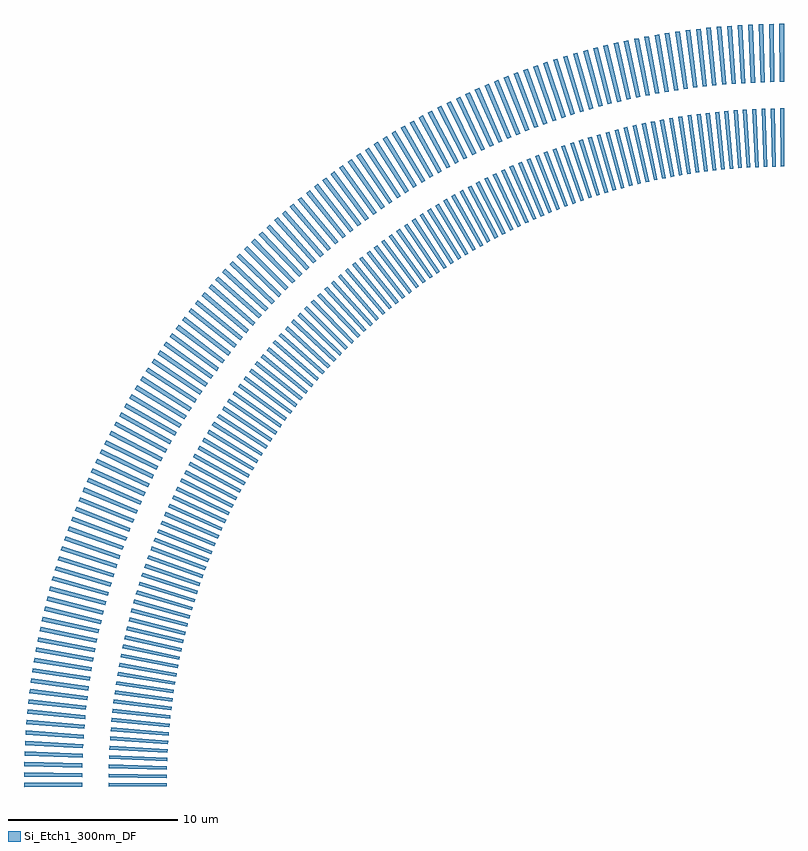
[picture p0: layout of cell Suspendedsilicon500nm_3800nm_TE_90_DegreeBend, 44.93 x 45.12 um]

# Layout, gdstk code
import gdstk
lib = gdstk.Library(unit=1e-6, precision=1e-09)
def P(c, l, *ps):  # polygons
    for p in ps: c.add(gdstk.Polygon(p, *l))
Si_Etch1_300nm_DF = (404, 0)

suspendedsilicon500nm_38 = lib.new_cell('Suspendedsilicon500nm_3800nm_TE_90_DegreeBend')
P(suspendedsilicon500nm_38, Si_Etch1_300nm_DF, [(8.902,20.76),(5.921,22.46),(6.055,22.692),(9.023,20.97)],
  [(14.847,20.837),(12.018,22.775),(12.148,22.964),(14.963,21.004)],
  [(9.189,21.255),(6.233,22.995),(6.369,23.225),(9.312,21.463)],
  [(15.135,21.249),(12.332,23.227),(12.465,23.414),(15.252,21.415)],
  [(9.482,21.745),(6.55,23.526),(6.689,23.753),(9.608,21.951)],
  [(15.427,21.657),(12.652,23.673),(12.787,23.858),(15.547,21.821)],
  [(9.782,22.231),(6.876,24.051),(7.018,24.277),(9.91,22.435)],
  [(15.726,22.061),(12.978,24.115),(13.117,24.298),(15.848,22.223)],
  [(16.03,22.461),(13.311,24.552),(13.452,24.733),(16.155,22.621)],
  [(22.375,28.869),(20.252,31.562),(20.434,31.704),(22.537,28.996)],
  [(22.773,29.177),(20.687,31.9),(20.869,32.039),(22.935,29.301)],
  [(23.174,29.48),(21.126,32.231),(21.311,32.367),(23.338,29.601)],
  [(23.579,29.776),(21.569,32.557),(21.755,32.69),(23.745,29.895)],
  [(23.989,30.068),(22.017,32.874),(22.205,33.005),(24.156,30.185)],
  [(22.536,35.113),(20.682,37.999),(20.907,38.142),(22.74,35.243)],
  [(23.02,35.418),(21.205,38.33),(21.432,38.47),(23.225,35.545)],
  [(23.506,35.717),(21.732,38.652),(21.961,38.79),(23.713,35.841)],
  [(23.998,36.009),(22.263,38.968),(22.495,39.102),(24.207,36.13)],
  [(26.093,31.438),(24.318,34.373),(24.516,34.492),(26.268,31.543)],
  [(26.525,31.695),(24.791,34.654),(24.99,34.769),(26.702,31.797)],
  [(26.96,31.946),(25.266,34.928),(25.467,35.041),(27.138,32.046)],
  [(27.399,32.19),(25.748,35.196),(25.949,35.305),(27.578,32.287)],
  [(27.841,32.428),(26.23,35.456),(26.434,35.564),(28.022,32.524)],
  [(28.287,32.661),(26.718,35.711),(26.923,35.815),(28.468,32.753)],
  [(28.735,32.886),(27.209,35.958),(27.415,36.06),(28.919,32.977)],
  [(29.187,33.107),(27.703,36.199),(27.91,36.298),(29.371,33.195)],
  [(29.641,33.321),(28.2,36.433),(28.409,36.528),(29.827,33.407)],
  [(30.099,33.528),(28.7,36.66),(28.91,36.753),(30.286,33.611)],
  [(30.559,33.73),(29.204,36.881),(29.415,36.97),(30.747,33.81)],
  [(31.022,33.924),(29.709,37.094),(29.923,37.181),(31.211,34.002)],
  [(31.488,34.114),(30.22,37.3),(30.433,37.383),(31.677,34.188)],
  [(31.957,34.295),(30.732,37.499),(30.946,37.58),(32.147,34.367)],
  [(32.427,34.471),(31.247,37.691),(31.463,37.769),(32.618,34.54)],
  [(32.9,34.639),(31.764,37.877),(31.981,37.952),(33.093,34.706)],
  [(33.375,34.802),(32.283,38.054),(32.502,38.127),(33.569,34.866)],
  [(24.402,30.354),(22.469,33.187),(22.658,33.315),(24.57,30.467)],
  [(33.853,34.958),(32.806,38.225),(33.025,38.294),(34.048,35.02)],
  [(34.332,35.108),(33.33,38.388),(33.55,38.454),(34.527,35.167)],
  [(24.819,30.633),(22.924,33.493),(23.117,33.62),(24.99,30.745)],
  [(34.814,35.252),(33.858,38.545),(34.079,38.607),(35.009,35.307)],
  [(35.298,35.387),(34.386,38.694),(34.608,38.754),(35.494,35.441)],
  [(25.239,30.907),(23.385,33.793),(23.579,33.917),(25.411,31.017)],
  [(35.782,35.517),(34.918,38.836),(35.14,38.893),(35.98,35.567)],
  [(36.27,35.639),(35.45,38.97),(35.673,39.025),(36.468,35.688)],
  [(25.665,31.176),(23.851,34.087),(24.045,34.207),(25.838,31.283)],
  [(36.758,35.756),(35.985,39.098),(36.209,39.148),(36.957,35.801)],
  [(37.249,35.865),(36.52,39.217),(36.746,39.266),(37.449,35.908)],
  [(37.74,35.968),(37.059,39.33),(37.285,39.375),(37.941,36.007)],
  [(24.492,36.293),(22.799,39.276),(23.031,39.407),(24.702,36.412)],
  [(38.234,36.063),(37.597,39.435),(37.824,39.477),(38.435,36.101)],
  [(38.727,36.154),(38.139,39.532),(38.365,39.57),(38.928,36.188)],
  [(39.224,36.236),(38.682,39.623),(38.907,39.658),(39.425,36.268)],
  [(24.991,36.572),(23.34,39.578),(23.574,39.705),(25.203,36.687)],
  [(39.72,36.311),(39.225,39.705),(39.452,39.737),(39.922,36.34)],
  [(40.218,36.38),(39.77,39.78),(39.996,39.809),(40.42,36.406)],
  [(40.717,36.442),(40.314,39.848),(40.542,39.874),(40.919,36.465)],
  [(41.215,36.497),(40.861,39.907),(41.088,39.93),(41.419,36.517)],
  [(41.716,36.545),(41.407,39.961),(41.636,39.98),(41.919,36.562)],
  [(25.494,36.843),(23.883,39.871),(24.119,39.996),(25.708,36.956)],
  [(42.216,36.586),(41.955,40.006),(42.184,40.022),(42.42,36.6)],
  [(42.718,36.62),(42.503,40.043),(42.733,40.057),(42.921,36.632)],
  [(43.219,36.648),(43.052,40.074),(43.281,40.083),(43.423,36.656)],
  [(43.721,36.668),(43.601,40.096),(43.831,40.103),(43.925,36.675)],
  [(44.223,36.682),(44.151,40.111),(44.38,40.115),(44.428,36.685)],
  [(44.726,36.688),(44.7,40.118),(44.929,40.119),(44.929,36.689)],
  [(26,37.107),(24.431,40.158),(24.67,40.279),(26.215,37.216)],
  [(26.51,37.364),(24.983,40.437),(25.223,40.555),(26.727,37.471)],
  [(27.024,37.615),(25.539,40.706),(25.78,40.821),(27.241,37.719)],
  [(27.54,37.858),(26.099,40.969),(26.342,41.08),(27.76,37.959)],
  [(28.06,38.094),(26.661,41.224),(26.906,41.333),(28.281,38.191)],
  [(28.583,38.323),(27.228,41.473),(27.473,41.577),(28.805,38.417)],
  [(29.11,38.544),(27.797,41.712),(28.045,41.814),(29.334,38.636)],
  [(29.639,38.759),(28.371,41.944),(28.619,42.042),(29.863,38.847)],
  [(30.171,38.966),(28.947,42.169),(29.196,42.263),(30.397,39.051)],
  [(30.706,39.166),(29.526,42.385),(29.777,42.476),(30.933,39.248)],
  [(31.245,39.357),(30.109,42.594),(30.36,42.681),(31.473,39.437)],
  [(31.784,39.543),(30.693,42.794),(30.947,42.878),(32.014,39.618)],
  [(32.327,39.72),(31.281,42.985),(31.536,43.066),(32.558,39.793)],
  [(32.872,39.891),(31.87,43.169),(32.126,43.246),(33.103,39.96)],
  [(33.42,40.053),(32.464,43.346),(32.721,43.419),(33.651,40.119)],
  [(33.97,40.208),(33.059,43.513),(33.316,43.584),(34.202,40.271)],
  [(34.521,40.356),(33.656,43.673),(33.915,43.739),(34.755,40.415)],
  [(35.075,40.495),(34.255,43.824),(34.515,43.888),(35.31,40.552)],
  [(35.63,40.627),(34.857,43.968),(35.118,44.027),(35.866,40.68)],
  [(36.188,40.751),(35.46,44.102),(35.722,44.159),(36.425,40.802)],
  [(36.747,40.868),(36.065,44.229),(36.328,44.281),(36.984,40.915)],
  [(37.308,40.976),(36.672,44.347),(36.935,44.396),(37.546,41.02)],
  [(37.869,41.079),(37.28,44.457),(37.544,44.501),(38.107,41.119)],
  [(38.433,41.172),(37.892,44.559),(38.154,44.6),(38.671,41.209)],
  [(38.998,41.258),(38.502,44.651),(38.766,44.689),(39.236,41.292)],
  [(39.563,41.336),(39.115,44.736),(39.379,44.77),(39.803,41.367)],
  [(40.13,41.406),(39.728,44.812),(39.993,44.843),(40.37,41.434)],
  [(40.698,41.468),(40.343,44.881),(40.608,44.907),(40.938,41.492)],
  [(41.267,41.524),(40.958,44.939),(41.224,44.962),(41.507,41.544)],
  [(41.835,41.57),(41.575,44.991),(41.84,45.01),(42.077,41.587)],
  [(42.405,41.609),(42.191,45.033),(42.458,45.048),(42.646,41.624)],
  [(42.975,41.641),(42.809,45.067),(43.075,45.078),(43.217,41.651)],
  [(43.546,41.664),(43.426,45.092),(43.693,45.1),(43.787,41.672)],
  [(44.117,41.68),(44.044,45.109),(44.311,45.113),(44.359,41.684)],
  [(44.688,41.687),(44.662,45.117),(44.929,45.119),(44.929,41.689)],
  [(17.099,30.955),(14.796,33.497),(14.994,33.676),(17.279,31.117)],
  [(17.3,24.017),(14.701,26.256),(14.85,26.429),(17.433,24.172)],
  [(17.525,31.335),(15.257,33.908),(15.459,34.085),(17.707,31.494)],
  [(11.382,24.596),(8.607,26.612),(8.764,26.827),(11.524,24.79)],
  [(17.957,31.71),(15.724,34.313),(15.928,34.486),(18.14,31.866)],
  [(17.63,24.395),(15.061,26.669),(15.215,26.841),(17.766,24.548)],
  [(17.966,24.77),(15.43,27.077),(15.584,27.247),(18.103,24.92)],
  [(18.393,32.078),(16.196,34.712),(16.402,34.883),(18.579,32.232)],
  [(11.721,25.055),(8.974,27.109),(9.135,27.322),(11.866,25.248)],
  [(18.834,32.44),(16.674,35.105),(16.883,35.272),(19.023,32.591)],
  [(18.307,25.139),(15.803,27.482),(15.959,27.649),(18.447,25.287)],
  [(12.067,25.51),(9.348,27.601),(9.512,27.812),(12.215,25.7)],
  [(19.28,32.796),(17.157,35.489),(17.368,35.654),(19.471,32.946)],
  [(18.653,25.502),(16.18,27.88),(16.341,28.045),(18.795,25.649)],
  [(19.732,33.146),(17.646,35.869),(17.858,36.031),(19.924,33.293)],
  [(12.418,25.959),(9.729,28.089),(9.895,28.297),(12.569,26.149)],
  [(19.004,25.862),(16.565,28.273),(16.727,28.435),(19.148,26.006)],
  [(20.188,33.49),(18.14,36.242),(18.355,36.4),(20.382,33.633)],
  [(12.776,26.404),(10.116,28.57),(10.286,28.777),(12.93,26.591)],
  [(19.361,26.216),(16.954,28.661),(17.118,28.822),(19.506,26.359)],
  [(20.649,33.827),(18.638,36.608),(18.855,36.763),(20.845,33.968)],
  [(19.721,26.565),(17.348,29.043),(17.515,29.202),(19.869,26.706)],
  [(21.114,34.159),(19.142,36.965),(19.361,37.118),(21.312,34.297)],
  [(13.14,26.844),(10.511,29.046),(10.683,29.25),(13.295,27.029)],
  [(20.087,26.911),(17.749,29.42),(17.917,29.576),(20.236,27.049)],
  [(21.584,34.484),(19.651,37.317),(19.871,37.466),(21.783,34.619)],
  [(13.511,27.279),(10.911,29.518),(11.086,29.72),(13.669,27.463)],
  [(20.457,27.25),(18.154,29.792),(18.324,29.946),(20.609,27.387)],
  [(22.058,34.801),(20.163,37.661),(20.387,37.809),(22.26,34.934)],
  [(13.886,27.709),(11.317,29.983),(11.496,30.183),(14.047,27.89)],
  [(20.831,27.584),(18.563,30.158),(18.737,30.309),(20.985,27.718)],
  [(14.268,28.135),(11.732,30.443),(11.912,30.639),(14.431,28.312)],
  [(21.211,27.914),(18.979,30.517),(19.153,30.666),(21.366,28.046)],
  [(21.595,28.237),(19.398,30.872),(19.575,31.019),(21.752,28.368)],
  [(14.656,28.553),(12.151,30.897),(12.334,31.092),(14.822,28.73)],
  [(21.983,28.556),(19.823,31.221),(20.002,31.365),(22.142,28.684)],
  [(15.049,28.967),(12.576,31.345),(12.763,31.538),(15.217,29.141)],
  [(10.089,22.712),(7.207,24.572),(7.353,24.797),(10.221,22.915)],
  [(15.448,29.377),(13.009,31.787),(13.197,31.977),(15.618,29.548)],
  [(16.339,22.856),(13.649,24.985),(13.792,25.165),(16.466,23.016)],
  [(10.402,23.189),(7.547,25.089),(7.696,25.311),(10.537,23.39)],
  [(15.853,29.779),(13.447,32.224),(13.637,32.411),(16.026,29.949)],
  [(16.654,23.248),(13.993,25.413),(14.14,25.591),(16.783,23.405)],
  [(16.262,30.177),(13.89,32.654),(14.084,32.839),(16.438,30.343)],
  [(10.723,23.663),(7.893,25.602),(8.045,25.821),(10.859,23.861)],
  [(16.678,30.569),(14.341,33.078),(14.536,33.259),(16.855,30.733)],
  [(16.973,23.635),(14.345,25.837),(14.492,26.012),(17.105,23.791)],
  [(11.049,24.131),(8.247,26.109),(8.402,26.327),(11.19,24.328)],
  [(12.524,16.96),(9.477,18.535),(9.584,18.739),(12.619,17.141)],
  [(7.089,17.2),(3.959,18.605),(4.069,18.848),(7.188,17.419)],
  [(12.758,17.405),(9.734,19.021),(9.842,19.223),(12.855,17.585)],
  [(7.326,17.72),(4.217,19.167),(4.331,19.409),(7.429,17.937)],
  [(12.998,17.847),(9.997,19.505),(10.109,19.705),(13.098,18.024)],
  [(7.572,18.235),(4.481,19.726),(4.599,19.967),(7.678,18.452)],
  [(13.245,18.283),(10.265,19.983),(10.379,20.182),(13.348,18.461)],
  [(7.824,18.748),(4.755,20.281),(4.875,20.519),(7.932,18.963)],
  [(13.498,18.719),(10.542,20.458),(10.659,20.656),(13.601,18.894)],
  [(8.083,19.256),(5.035,20.831),(5.159,21.068),(8.195,19.47)],
  [(13.755,19.149),(10.824,20.93),(10.944,21.126),(13.862,19.324)],
  [(14.02,19.578),(11.113,21.397),(11.236,21.591),(14.128,19.749)],
  [(8.348,19.761),(5.324,21.378),(5.45,21.613),(8.463,19.974)],
  [(14.29,20),(11.408,21.86),(11.533,22.054),(14.401,20.171)],
  [(8.621,20.264),(5.62,21.922),(5.75,22.154),(8.739,20.474)],
  [(14.565,20.42),(11.709,22.32),(11.837,22.511),(14.679,20.59)],
  [(5,0.021),(5,0.251),(8.43,0.239),(8.43,0.036)],
  [(0,0),(0,0.267),(3.43,0.256),(3.43,0.015)],
  [(8.432,0.537),(5.001,0.571),(5.005,0.8),(8.434,0.742)],
  [(3.432,0.585),(0.002,0.619),(0.006,0.885),(3.435,0.827)],
  [(8.44,1.04),(5.011,1.12),(5.017,1.35),(8.446,1.244)],
  [(3.442,1.157),(0.013,1.236),(0.02,1.504),(3.448,1.398)],
  [(8.456,1.542),(5.028,1.67),(5.038,1.898),(8.465,1.746)],
  [(3.459,1.727),(0.031,1.855),(0.043,2.121),(3.47,1.969)],
  [(8.479,2.044),(5.053,2.218),(5.065,2.448),(8.489,2.248)],
  [(3.485,2.298),(0.06,2.472),(0.074,2.739),(3.498,2.539)],
  [(8.507,2.545),(5.085,2.767),(5.101,2.995),(8.522,2.748)],
  [(3.518,2.868),(0.095,3.09),(0.114,3.355),(3.535,3.108)],
  [(8.544,3.047),(5.125,3.315),(5.144,3.544),(8.561,3.25)],
  [(3.56,3.438),(0.14,3.706),(0.162,3.972),(3.579,3.678)],
  [(8.587,3.547),(5.172,3.863),(5.194,4.091),(8.607,3.751)],
  [(3.608,4.007),(0.193,4.322),(0.219,4.588),(3.632,4.247)],
  [(8.638,4.047),(5.227,4.409),(5.252,4.637),(8.659,4.25)],
  [(8.694,4.546),(5.289,4.956),(5.318,5.183),(8.72,4.749)],
  [(3.665,4.575),(0.255,4.937),(0.284,5.202),(3.692,4.815)],
  [(8.758,5.045),(5.359,5.5),(5.39,5.727),(8.786,5.246)],
  [(3.73,5.142),(0.325,5.552),(0.358,5.817),(3.76,5.382)],
  [(8.828,5.542),(5.436,6.045),(5.471,6.271),(8.859,5.743)],
  [(3.803,5.709),(0.404,6.165),(0.44,6.429),(3.835,5.948)],
  [(8.906,6.039),(5.521,6.587),(5.559,6.813),(8.939,6.239)],
  [(3.882,6.274),(0.49,6.777),(0.531,7.041),(3.919,6.512)],
  [(8.991,6.533),(5.612,7.129),(5.653,7.356),(9.028,6.734)],
  [(3.971,6.839),(0.586,7.388),(0.629,7.651),(4.01,7.076)],
  [(9.082,7.027),(5.712,7.669),(5.756,7.895),(9.121,7.228)],
  [(4.067,7.401),(0.688,7.997),(0.736,8.261),(4.11,7.639)],
  [(9.18,7.52),(5.819,8.208),(5.866,8.434),(9.222,7.72)],
  [(4.17,7.963),(0.801,8.605),(0.851,8.868),(4.216,8.201)],
  [(9.284,8.011),(5.934,8.745),(5.983,8.97),(9.329,8.211)],
  [(4.282,8.523),(0.921,9.211),(0.976,9.474),(4.331,8.76)],
  [(9.396,8.501),(6.056,9.282),(6.109,9.505),(9.443,8.7)],
  [(9.513,8.989),(6.185,9.815),(6.241,10.038),(9.563,9.188)],
  [(4.4,9.081),(1.05,9.816),(1.108,10.077),(4.453,9.318)],
  [(9.639,9.476),(6.322,10.348),(6.381,10.57),(9.691,9.673)],
  [(4.527,9.639),(1.187,10.419),(1.249,10.68),(4.583,9.874)],
  [(9.771,9.961),(6.465,10.878),(6.527,11.099),(9.826,10.157)],
  [(4.661,10.194),(1.333,11.02),(1.398,11.279),(4.72,10.428)],
  [(9.908,10.445),(6.617,11.407),(6.682,11.627),(9.966,10.639)],
  [(4.803,10.747),(1.486,11.619),(1.555,11.877),(4.865,10.98)],
  [(10.053,10.924),(6.774,11.933),(6.843,12.152),(10.115,11.12)],
  [(4.953,11.298),(1.648,12.216),(1.72,12.472),(5.018,11.531)],
  [(10.205,11.404),(6.94,12.456),(7.011,12.676),(10.268,11.598)],
  [(5.109,11.848),(1.818,12.811),(1.894,13.066),(5.178,12.078)],
  [(10.362,11.88),(7.113,12.979),(7.188,13.197),(10.429,12.073)],
  [(5.274,12.394),(1.995,13.402),(2.075,13.657),(5.347,12.625)],
  [(10.527,12.356),(7.293,13.498),(7.37,13.714),(10.595,12.548)],
  [(10.698,12.828),(7.48,14.015),(7.561,14.23),(10.769,13.018)],
  [(5.447,12.939),(2.182,13.991),(2.264,14.246),(5.521,13.169)],
  [(10.876,13.299),(7.675,14.529),(7.757,14.742),(10.949,13.488)],
  [(5.625,13.481),(2.376,14.579),(2.463,14.832),(5.704,13.709)],
  [(11.06,13.765),(7.875,15.04),(7.961,15.254),(11.137,13.955)],
  [(5.813,14.021),(2.579,15.163),(2.668,15.415),(5.894,14.248)],
  [(11.25,14.229),(8.084,15.548),(8.173,15.76),(11.329,14.418)],
  [(6.007,14.558),(2.789,15.745),(2.883,15.995),(6.091,14.783)],
  [(11.447,14.692),(8.298,16.054),(8.391,16.265),(11.528,14.879)],
  [(6.209,15.093),(3.008,16.323),(3.104,16.571),(6.295,15.317)],
  [(11.65,15.152),(8.52,16.557),(8.615,16.766),(11.734,15.337)],
  [(6.418,15.623),(3.233,16.898),(3.333,17.147),(6.509,15.848)],
  [(11.859,15.609),(8.75,17.056),(8.848,17.264),(11.945,15.793)],
  [(6.634,16.151),(3.468,17.47),(3.572,17.717),(6.727,16.374)],
  [(12.075,16.063),(8.985,17.553),(9.086,17.76),(12.165,16.246)],
  [(12.296,16.513),(9.228,18.046),(9.331,18.251),(12.388,16.695)],
  [(6.858,16.678),(3.709,18.039),(3.817,18.284),(6.954,16.899)])

lib.write_gds('Suspendedsilicon500nm_3800nm_TE_90_DegreeBend.gds')
